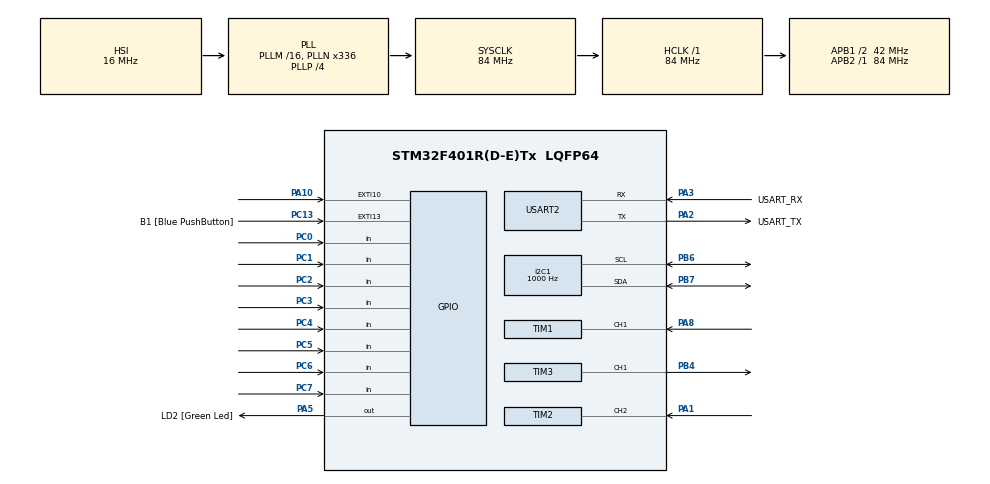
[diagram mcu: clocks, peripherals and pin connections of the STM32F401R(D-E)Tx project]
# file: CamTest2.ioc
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Mcu.Family=STM32F4
PA2.GPIO_PuPd=GPIO_NOPULL
RCC.CortexFreq_Value=84000000
PA14.GPIO_Label=TCK
PA3.GPIO_PuPd=GPIO_NOPULL
PA2.GPIO_Speed=GPIO_SPEED_FREQ_LOW
Dma.TIM1_CH1.0.MemDataAlignment=DMA_MDATAALIGN_WORD
PA3.GPIO_Speed=GPIO_SPEED_FREQ_LOW
RCC.SYSCLKSource=RCC_SYSCLKSOURCE_PLLCLK
ProjectManager.StackSize=0x400
VP_TIM2_VS_ClockSourceITR.Mode=TriggerSource_ITR0
Dma.TIM1_CH1.0.MemInc=DMA_MINC_ENABLE
VP_TIM1_VS_ControllerModeReset.Mode=Reset Mode
TIM2.ICPolarity_CH2=TIM_INPUTCHANNELPOLARITY_FALLING
PH0\ -\ OSC_IN.Signal=RCC_OSC_IN
I2C1.ClockSpeed=1000
RCC.HCLKFreq_Value=84000000
RCC.APB2TimFreq_Value=84000000
TIM3.Period=7
PB6.Signal=I2C1_SCL
PC7.Signal=GPIO_Input
PB6.Mode=I2C
PC3.Signal=GPIO_Input
RCC.AHBFreq_Value=84000000
TIM3.Channel-PWM\ Generation1\ CH1=TIM_CHANNEL_1
RCC.HSE_VALUE=8000000
PC13-ANTI_TAMP.Signal=GPXTI13
I2C1.NoStretchMode=I2C_NOSTRETCH_DISABLE
PC14-OSC32_IN.Mode=LSE-External-Oscillator
TIM3.Prescaler=0
PA5.GPIO_PuPd=GPIO_NOPULL
NVIC.TIM2_IRQn=true\:0\:0\:false\:false\:true\:true\:true
PB7.Signal=I2C1_SDA
PA8.Signal=S_TIM1_CH1
SH.S_TIM3_CH1.0=TIM3_CH1,PWM Generation1 CH1
Dma.TIM1_CH1.0.FIFOThreshold=DMA_FIFO_THRESHOLD_FULL
Mcu.Package=LQFP64
USART2.VirtualMode=VM_ASYNC
TIM2.Channel-Input_Capture2_from_TI2=TIM_CHANNEL_2
PA2.GPIO_Label=USART_TX
PA10.Signal=GPXTI10
RCC.APB1TimFreq_Value=84000000
PC5.Signal=GPIO_Input
Dma.Request0=TIM1_CH1
TIM3.OCFastMode_PWM-PWM\ Generation1\ CH1=TIM_OCFAST_ENABLE
PB4.Signal=S_TIM3_CH1
PA3.Signal=USART2_RX
PA2.GPIO_Mode=GPIO_MODE_AF_PP
PB3.GPIO_Label=SWO
PC15-OSC32_OUT.Mode=LSE-External-Oscillator
PC13-ANTI_TAMP.GPIO_PuPd=GPIO_NOPULL
PC13-ANTI_TAMP.GPIO_Label=B1 [Blue PushButton]
PH1\ -\ OSC_OUT.Mode=HSE-External-Clock-Source
PC2.Signal=GPIO_Input
PC4.Signal=GPIO_Input
PC6.Signal=GPIO_Input
Dma.TIM1_CH1.0.FIFOMode=DMA_FIFOMODE_ENABLE
NVIC.DMA2_Stream1_IRQn=true\:0\:0\:false\:false\:true\:false\:true
PC0.Signal=GPIO_Input
RCC.APB1CLKDivider=RCC_HCLK_DIV2
PC14-OSC32_IN.Signal=RCC_OSC32_IN
Dma.TIM1_CH1.0.PeriphDataAlignment=DMA_PDATAALIGN_BYTE
Dma.TIM1_CH1.0.Priority=DMA_PRIORITY_VERY_HIGH
Dma.TIM1_CH1.0.PeriphInc=DMA_PINC_DISABLE
PA3.Mode=Asynchronous
PA13.Signal=SYS_JTMS-SWDIO
SH.S_TIM2_CH2.0=TIM2_CH2,Input_Capture2_from_TI2
PH0\ -\ OSC_IN.Mode=HSE-External-Clock-Source
Dma.TIM1_CH1.0.Mode=DMA_CIRCULAR
TIM3.Pulse-PWM\ Generation1\ CH1=5
SH.S_TIM1_CH1.0=TIM1_CH1,Input_Capture1_from_TI1
SH.S_TIM1_CH1.1=TIM1_CH1,TriggerSource_TI1FP1
ProjectManager.TargetToolchain=STM32CubeIDE
Dma.TIM1_CH1.0.PeriphBurst=DMA_PBURST_SINGLE
PA3.GPIO_Mode=GPIO_MODE_AF_PP
VP_TIM2_VS_ControllerModeClock.Mode=Clock Mode
PC15-OSC32_OUT.Signal=RCC_OSC32_OUT
PA1.Signal=S_TIM2_CH2
PA5.Signal=GPIO_Output
PH1\ -\ OSC_OUT.Signal=RCC_OSC_OUT
board=NUCLEO-F401RE
RCC.VCOOutputFreq_Value=336000000
RCC.APB2Freq_Value=84000000
Mcu.Name=STM32F401R(D-E)Tx
PA2.Signal=USART2_TX
PA13.GPIO_Label=TMS
Dma.TIM1_CH1.0.Direction=DMA_PERIPH_TO_MEMORY
RCC.48MHZClocksFreq_Value=48000000
PB3.Signal=SYS_JTDO-SWO
RCC.SYSCLKFreq_VALUE=84000000
Dma.TIM1_CH1.0.Instance=DMA2_Stream1
PA5.GPIO_Label=LD2 [Green Led]
TIM1.Channel-Input_Capture1_from_TI1=TIM_CHANNEL_1
PC13-ANTI_TAMP.GPIO_ModeDefaultEXTI=GPIO_MODE_IT_FALLING
Dma.TIM1_CH1.0.MemBurst=DMA_MBURST_INC4
PB7.Mode=I2C
PA14.Signal=SYS_JTCK-SWCLK
ProjectManager.HeapSize=0x200
RCC.HSI_VALUE=16000000
RCC.PLLP=RCC_PLLP_DIV4
PA5.GPIO_Speed=GPIO_SPEED_FREQ_LOW
RCC.PLLQ=7
NVIC.PriorityGroup=NVIC_PRIORITYGROUP_0
RCC.PLLN=336
PA2.Mode=Asynchronous
RCC.APB1Freq_Value=42000000
PA5.GPIO_Mode=GPIO_MODE_OUTPUT_PP
PC1.Signal=GPIO_Input
TIM1.TIM_MasterSlaveMode=TIM_MASTERSLAVEMODE_ENABLE
PA3.GPIO_Label=USART_RX

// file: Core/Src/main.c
/* USER CODE BEGIN Header */
/**
  ******************************************************************************
  * @file           : main.c
  * @brief          : Main program body
  ******************************************************************************
  * @attention
  *
  * <h2><center>&copy; Copyright (c) 2021 STMicroelectronics.
  * All rights reserved.</center></h2>
  *
  * This software component is licensed by ST under BSD 3-Clause license,
  * the "License"; You may not use this file except in compliance with the
  * License. You may obtain a copy of the License at:
  *                        opensource.org/licenses/BSD-3-Clause
  *
  ******************************************************************************
  */
/* USER CODE END Header */
#include "main.h"

I2C_HandleTypeDef hi2c1;

TIM_HandleTypeDef htim1;
TIM_HandleTypeDef htim2;
TIM_HandleTypeDef htim3;
DMA_HandleTypeDef hdma_tim1_ch1;

UART_HandleTypeDef huart2;

void SystemClock_Config(void);
static void MX_GPIO_Init(void);
static void MX_DMA_Init(void);
static void MX_USART2_UART_Init(void);
static void MX_TIM3_Init(void);
static void MX_I2C1_Init(void);
static void MX_TIM1_Init(void);
static void MX_TIM2_Init(void);

/* USER CODE BEGIN 0 */
const uint8_t id = 0x42;

// MAGIC
		/* Registers */
		#define REG_GAIN	0x00	/* Gain lower 8 bits (rest in vref) */
		#define REG_BLUE	0x01	/* blue gain */
		#define REG_RED		0x02	/* red gain */
		#define REG_VREF	0x03	/* Pieces of GAIN, VSTART, VSTOP */
		#define REG_COM1	0x04	/* Control 1 */
		#define  COM1_CCIR656	  0x40  /* CCIR656 enable */
		#define REG_BAVE	0x05	/* U/B Average level */
		#define REG_GbAVE	0x06	/* Y/Gb Average level */
		#define REG_AECHH	0x07	/* AEC MS 5 bits */
		#define REG_RAVE	0x08	/* V/R Average level */
		#define REG_COM2	0x09	/* Control 2 */
		#define  COM2_SSLEEP	  0x10	/* Soft sleep mode */
		#define REG_PID		0x0a	/* Product ID MSB */
		#define REG_VER		0x0b	/* Product ID LSB */
		#define REG_COM3	0x0c	/* Control 3 */
		#define  COM3_SWAP	  0x40	  /* Byte swap */
		#define  COM3_SCALEEN	  0x08	  /* Enable scaling */
		#define  COM3_DCWEN	  0x04	  /* Enable downsamp/crop/window */
		#define REG_COM4	0x0d	/* Control 4 */
		#define REG_COM5	0x0e	/* All "reserved" */
		#define REG_COM6	0x0f	/* Control 6 */
		#define REG_AECH	0x10	/* More bits of AEC value */
		#define REG_CLKRC	0x11	/* Clocl control */
		#define   CLK_EXT	  0x40	  /* Use external clock directly */
		#define   CLK_SCALE	  0x3f	  /* Mask for internal clock scale */
		#define REG_COM7	0x12	/* Control 7 */
		#define   COM7_RESET	  0x80	  /* Register reset */
		#define   COM7_FMT_MASK	  0x38
		#define   COM7_FMT_VGA	  0x00
		#define	  COM7_FMT_CIF	  0x20	  /* CIF format */
		#define   COM7_FMT_QVGA	  0x10	  /* QVGA format */
		#define   COM7_FMT_QCIF	  0x08	  /* QCIF format */
		#define	  COM7_RGB	  0x04	  /* bits 0 and 2 - RGB format */
		#define	  COM7_YUV	  0x00	  /* YUV */
		#define	  COM7_BAYER	  0x01	  /* Bayer format */
		#define	  COM7_PBAYER	  0x05	  /* "Processed bayer" */
		#define REG_COM8	0x13	/* Control 8 */
		#define   COM8_FASTAEC	  0x80	  /* Enable fast AGC/AEC */
		#define   COM8_AECSTEP	  0x40	  /* Unlimited AEC step size */
		#define   COM8_BFILT	  0x20	  /* Band filter enable */
		#define   COM8_AGC	  0x04	  /* Auto gain enable */
		#define   COM8_AWB	  0x02	  /* White balance enable */
		#define   COM8_AEC	  0x01	  /* Auto exposure enable */
		#define REG_COM9	0x14	/* Control 9  - gain ceiling */
		#define REG_COM10	0x15	/* Control 10 */
		#define   COM10_HSYNC	  0x40	  /* HSYNC instead of HREF */
		#define   COM10_PCLK_HB	  0x20	  /* Suppress PCLK on horiz blank */
		#define   COM10_HREF_REV  0x08	  /* Reverse HREF */
		#define   COM10_VS_LEAD	  0x04	  /* VSYNC on clock leading edge */
		#define   COM10_VS_NEG	  0x02	  /* VSYNC negative */
		#define   COM10_HS_NEG	  0x01	  /* HSYNC negative */
		#define REG_HSTART	0x17	/* Horiz start high bits */
		#define REG_HSTOP	0x18	/* Horiz stop high bits */
		#define REG_VSTART	0x19	/* Vert start high bits */
		#define REG_VSTOP	0x1a	/* Vert stop high bits */
		#define REG_PSHFT	0x1b	/* Pixel delay after HREF */
		#define REG_MIDH	0x1c	/* Manuf. ID high */
		#define REG_MIDL	0x1d	/* Manuf. ID low */
		#define REG_MVFP	0x1e	/* Mirror / vflip */
		#define   MVFP_MIRROR	  0x20	  /* Mirror image */
		#define   MVFP_FLIP	  0x10	  /* Vertical flip */

		#define REG_AEW		0x24	/* AGC upper limit */
		#define REG_AEB		0x25	/* AGC lower limit */
		#define REG_VPT		0x26	/* AGC/AEC fast mode op region */
		#define REG_HSYST	0x30	/* HSYNC rising edge delay */
		#define REG_HSYEN	0x31	/* HSYNC falling edge delay */
		#define REG_HREF	0x32	/* HREF pieces */
		#define REG_TSLB	0x3a	/* lots of stuff */
		#define   TSLB_YLAST	  0x04	  /* UYVY or VYUY - see com13 */
		#define REG_COM11	0x3b	/* Control 11 */
		#define   COM11_NIGHT	  0x80	  /* NIght mode enable */
		#define   COM11_NMFR	  0x60	  /* Two bit NM frame rate */
		#define   COM11_HZAUTO	  0x10	  /* Auto detect 50/60 Hz */
		#define	  COM11_50HZ	  0x08	  /* Manual 50Hz select */
		#define   COM11_EXP	  0x02
		#define REG_COM12	0x3c	/* Control 12 */
		#define   COM12_HREF	  0x80	  /* HREF always */
		#define REG_COM13	0x3d	/* Control 13 */
		#define   COM13_GAMMA	  0x80	  /* Gamma enable */
		#define	  COM13_UVSAT	  0x40	  /* UV saturation auto adjustment */
		#define   COM13_UVSWAP	  0x01	  /* V before U - w/TSLB */
		#define REG_COM14	0x3e	/* Control 14 */
		#define   COM14_DCWEN	  0x10	  /* DCW/PCLK-scale enable */
		#define REG_EDGE	0x3f	/* Edge enhancement factor */
		#define REG_COM15	0x40	/* Control 15 */
		#define   COM15_R10F0	  0x00	  /* Data range 10 to F0 */
		#define	  COM15_R01FE	  0x80	  /*            01 to FE */
		#define   COM15_R00FF	  0xc0	  /*            00 to FF */
		#define   COM15_RGB565	  0x10	  /* RGB565 output */
		#define   COM15_RGB555	  0x30	  /* RGB555 output */
		#define REG_COM16	0x41	/* Control 16 */
		#define   COM16_AWBGAIN   0x08	  /* AWB gain enable */
		#define REG_COM17	0x42	/* Control 17 */
		#define   COM17_AECWIN	  0xc0	  /* AEC window - must match COM4 */
		#define   COM17_CBAR	  0x08	  /* DSP Color bar */

		/*
		 * This matrix defines how the colors are generated, must be
		 * tweaked to adjust hue and saturation.
		 *
		 * Order: v-red, v-green, v-blue, u-red, u-green, u-blue
		 *
		 * They are nine-bit signed quantities, with the sign bit
		 * stored in 0x58.  Sign for v-red is bit 0, and up from there.
		 */
		#define	REG_CMATRIX_BASE 0x4f
		#define   CMATRIX_LEN 6
		#define REG_CMATRIX_SIGN 0x58

		#define REG_BRIGHT	0x55	/* Brightness */
		#define REG_CONTRAS	0x56	/* Contrast control */

		#define REG_GFIX	0x69	/* Fix gain control */

		#define REG_DBLV	0x6b	/* PLL control an debugging */
		#define   DBLV_BYPASS	  0x0a	  /* Bypass PLL */
		#define   DBLV_X4	  0x4a	  /* clock x4 */
		#define   DBLV_X6	  0x8a	  /* clock x6 */
		#define   DBLV_X8	  0xca	  /* clock x8 */

		#define REG_SCALING_XSC	0x70	/* Test pattern and horizontal scale factor */
		#define   TEST_PATTTERN_0 0x80
		#define REG_SCALING_YSC	0x71	/* Test pattern and vertical scale factor */
		#define   TEST_PATTTERN_1 0x80

		#define REG_REG76	0x76	/* OV's name */
		#define   R76_BLKPCOR	  0x80	  /* Black pixel correction enable */
		#define   R76_WHTPCOR	  0x40	  /* White pixel correction enable */

		#define REG_RGB444	0x8c	/* RGB 444 control */
		#define   R444_ENABLE	  0x02	  /* Turn on RGB444, overrides 5x5 */
		#define   R444_RGBX	  0x01	  /* Empty nibble at end */

		#define REG_HAECC1	0x9f	/* Hist AEC/AGC control 1 */
		#define REG_HAECC2	0xa0	/* Hist AEC/AGC control 2 */

		#define REG_BD50MAX	0xa5	/* 50hz banding step limit */
		#define REG_HAECC3	0xa6	/* Hist AEC/AGC control 3 */
		#define REG_HAECC4	0xa7	/* Hist AEC/AGC control 4 */
		#define REG_HAECC5	0xa8	/* Hist AEC/AGC control 5 */
		#define REG_HAECC6	0xa9	/* Hist AEC/AGC control 6 */
		#define REG_HAECC7	0xaa	/* Hist AEC/AGC control 7 */
		#define REG_BD60MAX	0xab	/* 60hz banding step limit */

const uint8_t regCfg[][2] = {
		{0x12, 0x80}, // Register Reset, Must wait 1ms

#ifdef LINM
		/*
			 * Set the hardware window.  These values from OV don't entirely
			 * make sense - hstop is less than hstart.  But they work...
			 */

			{ REG_HSTART, 0x13 },	{ REG_HSTOP, 0x01 },
			{ REG_HREF, 0xb6 },	{ REG_VSTART, 0x02 },
			{ REG_VSTOP, 0x7a },	{ REG_VREF, 0x0a },

			{ REG_COM3, 0 },	{ REG_COM14, 0 },

			/* Mystery scaling numbers */

			{ REG_SCALING_XSC, 0x3a },
			{ REG_SCALING_YSC, 0x35 },
			{ 0x72, 0x11 },		{ 0x73, 0xf0 },
			{ 0xa2, 0x02 },		{ REG_COM10, 0x0 },

			/* Gamma curve values */
			{ 0x7a, 0x20 },		{ 0x7b, 0x10 },
			{ 0x7c, 0x1e },		{ 0x7d, 0x35 },
			{ 0x7e, 0x5a },		{ 0x7f, 0x69 },
			{ 0x80, 0x76 },		{ 0x81, 0x80 },
			{ 0x82, 0x88 },		{ 0x83, 0x8f },
			{ 0x84, 0x96 },		{ 0x85, 0xa3 },
			{ 0x86, 0xaf },		{ 0x87, 0xc4 },
			{ 0x88, 0xd7 },		{ 0x89, 0xe8 },

			/* AGC and AEC parameters.  Note we start by disabling those features,
			   then turn them only after tweaking the values. */
			{ REG_COM8, COM8_FASTAEC | COM8_AECSTEP | COM8_BFILT },
			{ REG_GAIN, 0 },	{ REG_AECH, 0 },
			{ REG_COM4, 0x40 }, /* magic reserved bit */
			{ REG_COM9, 0x18 }, /* 4x gain + magic rsvd bit */
			{ REG_BD50MAX, 0x05 },	{ REG_BD60MAX, 0x07 },
			{ REG_AEW, 0x95 },	{ REG_AEB, 0x33 },
			{ REG_VPT, 0xe3 },	{ REG_HAECC1, 0x78 },
			{ REG_HAECC2, 0x68 },	{ 0xa1, 0x03 }, /* magic */
			{ REG_HAECC3, 0xd8 },	{ REG_HAECC4, 0xd8 },
			{ REG_HAECC5, 0xf0 },	{ REG_HAECC6, 0x90 },
			{ REG_HAECC7, 0x94 },
			{ REG_COM8, COM8_FASTAEC|COM8_AECSTEP|COM8_BFILT|COM8_AGC|COM8_AEC },

			/* Almost all of these are magic "reserved" values.  */
			{ REG_COM5, 0x61 },	{ REG_COM6, 0x4b },
			{ 0x16, 0x02 },		{ REG_MVFP, 0x07 },
			{ 0x21, 0x02 },		{ 0x22, 0x91 },
			{ 0x29, 0x07 },		{ 0x33, 0x0b },
			{ 0x35, 0x0b },		{ 0x37, 0x1d },
			{ 0x38, 0x71 },		{ 0x39, 0x2a },
			{ REG_COM12, 0x78 },	{ 0x4d, 0x40 },
			{ 0x4e, 0x20 },		{ REG_GFIX, 0 },
			{ 0x6b, 0x4a },		{ 0x74, 0x10 },
			{ 0x8d, 0x4f },		{ 0x8e, 0 },
			{ 0x8f, 0 },		{ 0x90, 0 },
			{ 0x91, 0 },		{ 0x96, 0 },
			{ 0x9a, 0 },		{ 0xb0, 0x84 },
			{ 0xb1, 0x0c },		{ 0xb2, 0x0e },
			{ 0xb3, 0x82 },		{ 0xb8, 0x0a },

			/* More reserved magic, some of which tweaks white balance */
			{ 0x43, 0x0a },		{ 0x44, 0xf0 },
			{ 0x45, 0x34 },		{ 0x46, 0x58 },
			{ 0x47, 0x28 },		{ 0x48, 0x3a },
			{ 0x59, 0x88 },		{ 0x5a, 0x88 },
			{ 0x5b, 0x44 },		{ 0x5c, 0x67 },
			{ 0x5d, 0x49 },		{ 0x5e, 0x0e },
			{ 0x6c, 0x0a },		{ 0x6d, 0x55 },
			{ 0x6e, 0x11 },		{ 0x6f, 0x9f }, /* "9e for advance AWB" */
			{ 0x6a, 0x40 },		{ REG_BLUE, 0x40 },
			{ REG_RED, 0x60 },
			{ REG_COM8, COM8_FASTAEC|COM8_AECSTEP|COM8_BFILT|COM8_AGC|COM8_AEC|COM8_AWB },

			/* Matrix coefficients */
			{ 0x4f, 0x80 },		{ 0x50, 0x80 },
			{ 0x51, 0 },		{ 0x52, 0x22 },
			{ 0x53, 0x5e },		{ 0x54, 0x80 },
			{ 0x58, 0x9e },

			{ REG_COM16, COM16_AWBGAIN },	{ REG_EDGE, 0 },
			{ 0x75, 0x05 },		{ 0x76, 0xe1 },
			{ 0x4c, 0 },		{ 0x77, 0x01 },

			//Something causing drift
			/*{ REG_COM13, 0xc3 },*/ {REG_COM13, 0xc9},	{ 0x4b, 0x09 },
			{ 0xc9, 0x60 },		{ REG_COM16, 0x38 },
			{ 0x56, 0x40 },

			{ 0x34, 0x11 },		{ REG_COM11, COM11_EXP|COM11_HZAUTO },
			{ 0xa4, 0x88 },		{ 0x96, 0 },
			{ 0x97, 0x30 },		{ 0x98, 0x20 },
			{ 0x99, 0x30 },		{ 0x9a, 0x84 },
			{ 0x9b, 0x29 },		{ 0x9c, 0x03 },
			{ 0x9d, 0x4c },		{ 0x9e, 0x3f },
			{ 0x78, 0x04 },

			/* Extra-weird stuff.  Some sort of multiplexor register */
			//SAFE
			{ 0x79, 0x01 },		{ 0xc8, 0xf0 },
			{ 0x79, 0x0f },		{ 0xc8, 0x00 },
			{ 0x79, 0x10 },		{ 0xc8, 0x7e },
			{ 0x79, 0x0a },		{ 0xc8, 0x80 },
			{ 0x79, 0x0b },		{ 0xc8, 0x01 },
			{ 0x79, 0x0c },		{ 0xc8, 0x0f },
			{ 0x79, 0x0d },		{ 0xc8, 0x20 },
			{ 0x79, 0x09 },		{ 0xc8, 0x80 },
			{ 0x79, 0x02 },		{ 0xc8, 0xc0 },
			{ 0x79, 0x03 },		{ 0xc8, 0x40 },
			{ 0x79, 0x05 },		{ 0xc8, 0x30 },
			{ 0x79, 0x26 },
#endif

/*
			 * Set the hardware window.  These values from OV don't entirely
			 * make sense - hstop is less than hstart.  But they work...
			 */

			{ REG_HSTART, 0x13 },	{ REG_HSTOP, 0x01 },
			{ REG_HREF, 0xb6 },	{ REG_VSTART, 0x02 },
			{ REG_VSTOP, 0x7a },	{ REG_VREF, 0x0a },

			{ REG_COM3, 0 },	{ REG_COM14, 0 },

			/* Mystery scaling numbers */

			{ REG_SCALING_XSC, 0x3a },
			{ REG_SCALING_YSC, 0x35 },
			{ 0x72, 0x11 },		{ 0x73, 0xf0 },
			{ 0xa2, 0x02 },		{ REG_COM10, 0x0 },

			/* Gamma curve values */
						{ 0x7a, 0x20 },		{ 0x7b, 0x10 },
						{ 0x7c, 0x1e },		{ 0x7d, 0x35 },
						{ 0x7e, 0x5a },		{ 0x7f, 0x69 },
						{ 0x80, 0x76 },		{ 0x81, 0x80 },
						{ 0x82, 0x88 },		{ 0x83, 0x8f },
						{ 0x84, 0x96 },		{ 0x85, 0xa3 },
						{ 0x86, 0xaf },		{ 0x87, 0xc4 },
						{ 0x88, 0xd7 },		{ 0x89, 0xe8 },

			/* AGC and AEC parameters.  Note we start by disabling those features,
						   then turn them only after tweaking the values. */
						{ REG_COM8, COM8_FASTAEC | COM8_AECSTEP | COM8_BFILT },
						{ REG_GAIN, 0 },	{ REG_AECH, 0 },
						{ REG_COM4, 0x40 }, /* magic reserved bit */
						{ REG_COM9, 0x18 }, /* 4x gain + magic rsvd bit */
						{ REG_BD50MAX, 0x05 },	{ REG_BD60MAX, 0x07 },
						{ REG_AEW, 0x95 },	{ REG_AEB, 0x33 },
						{ REG_VPT, 0xe3 },	{ REG_HAECC1, 0x78 },
						{ REG_HAECC2, 0x68 },	{ 0xa1, 0x03 }, /* magic */
						{ REG_HAECC3, 0xd8 },	{ REG_HAECC4, 0xd8 },
						{ REG_HAECC5, 0xf0 },	{ REG_HAECC6, 0x90 },
						{ REG_HAECC7, 0x94 },
						{ REG_COM8, COM8_FASTAEC|COM8_AECSTEP|COM8_BFILT|COM8_AGC|COM8_AEC },

			/* Almost all of these are magic "reserved" values.  */
						{ REG_COM5, 0x61 },	{ REG_COM6, 0x4b },
						{ 0x16, 0x02 },		{ REG_MVFP, 0x07 },
						{ 0x21, 0x02 },		{ 0x22, 0x91 },
						{ 0x29, 0x07 },		{ 0x33, 0x0b },
						{ 0x35, 0x0b },		{ 0x37, 0x1d },
						{ 0x38, 0x71 },		{ 0x39, 0x2a },
						{ REG_COM12, 0x78 },	{ 0x4d, 0x40 },
						{ 0x4e, 0x20 },		{ REG_GFIX, 0 },
						{ 0x6b, 0x4a },		{ 0x74, 0x10 },
						{ 0x8d, 0x4f },		{ 0x8e, 0 },
						{ 0x8f, 0 },		{ 0x90, 0 },
						{ 0x91, 0 },		{ 0x96, 0 },
						{ 0x9a, 0 },		{ 0xb0, 0x84 },
						{ 0xb1, 0x0c },		{ 0xb2, 0x0e },
						{ 0xb3, 0x82 },		{ 0xb8, 0x0a },

						/* More reserved magic, some of which tweaks white balance */
						{ 0x43, 0x0a },		{ 0x44, 0xf0 },
						{ 0x45, 0x34 },		{ 0x46, 0x58 },
						{ 0x47, 0x28 },		{ 0x48, 0x3a },
						{ 0x59, 0x88 },		{ 0x5a, 0x88 },
						{ 0x5b, 0x44 },		{ 0x5c, 0x67 },
						{ 0x5d, 0x49 },		{ 0x5e, 0x0e },
						{ 0x6c, 0x0a },		{ 0x6d, 0x55 },
						{ 0x6e, 0x11 },		{ 0x6f, 0x9f }, /* "9e for advance AWB" */
						{ 0x6a, 0x40 },		{ REG_BLUE, 0x40 },
						{ REG_RED, 0x60 },
						{ REG_COM8, COM8_FASTAEC|COM8_AECSTEP|COM8_BFILT|COM8_AGC|COM8_AEC|COM8_AWB },

						/* Matrix coefficients */
						{ 0x4f, 0x80 },		{ 0x50, 0x80 },
						{ 0x51, 0 },		{ 0x52, 0x22 },
						{ 0x53, 0x5e },		{ 0x54, 0x80 },
						{ 0x58, 0x9e },

						{ REG_COM16, COM16_AWBGAIN },	{ REG_EDGE, 0 },
						{ 0x75, 0x05 },		{ 0x76, 0xe1 },
						{ 0x4c, 0 },		{ 0x77, 0x01 },

#ifdef YUV
			// YUV linux
				{ REG_COM7, 0x0 },  /* Selects YUV mode */
					{ REG_RGB444, 0 },	/* No RGB444 please */
					{ REG_COM1, 0 },	/* CCIR601 */
					{ REG_COM15, COM15_R00FF },
					{ REG_COM9, 0x48 }, /* 32x gain ceiling; 0x8 is reserved bit */
					{ 0x4f, 0x80 },		/* "matrix coefficient 1" */
					{ 0x50, 0x80 },		/* "matrix coefficient 2" */
					{ 0x51, 0    },		/* vb */
					{ 0x52, 0x22 },		/* "matrix coefficient 4" */
					{ 0x53, 0x5e },		/* "matrix coefficient 5" */
					{ 0x54, 0x80 },		/* "matrix coefficient 6" */
					{ REG_COM13, COM13_GAMMA|COM13_UVSAT },

#endif

		//Our settings
		{0x11, 0x9F}, // Clock Prescaler
		{0x6B, 0x7A}, // PLL x4
	//    /*{0x2A, 0xF0},*/ {0x2B, 0xFF}, // Dummy pixel insert
	    {0x15, 0x20}, // Don't toggle HSYNC during horizontal blank
	//	{0x92, 0xFF}, {0x93, 0x07}, //Dummy Row
		  {0x0C, 0x08}, {0x12, 0x08}, //QCIF
		// {0x40, 0x80},// {0x04, 0x40}, // CIR656
	 // /* {0x70, 0x4A | 0x80},*/ {0x71, 0x35 | 0x80}, // Test Pattern
	//	{0x1B, 0xFF}, //Pixel delay to HREF

/*
		//{0x11, 0x01},
		{0x12, 0x00},
		{0x0C, 0x0C},
		{0x32, 0x11},
		{0x70, 0x3A},
		{0x71, 0x35 | 0x80 },
		{0x72, 0x11},
		{0x73, 0xF1},
		{0xA2, 0x52},*/
		// {0x13, 0x08}, //Turn off auto
		// {0x14, 0x6A}, //Gain ceil 4x
		//{0xAA, 0x04}, //Avg AEC
		// {0x41, 0x38}, //Edge enhance, denoise, AWB Gain
		//{0xB1, 0x04}, //Black level
	    //{0x55, 0x8F}, //Brightness
		//{0x26, 0x76}, //Small control region
		//{0x3D, 0xD9},
		// {0x13, 0xCF}, //TUrn on auto

};

void log(char *c)
{
	HAL_UART_Transmit(&huart2, c, strlen(c), 1000000);
}

uint8_t camReadReg(uint8_t memAddr)
{
	int t = HAL_GetTick();
	HAL_I2C_Master_Transmit(&hi2c1, id, &memAddr, 1, 1000);
	CLEAR_BIT(hi2c1.Instance->CR1, I2C_CR1_ACK);
		SET_BIT(hi2c1.Instance->CR1, I2C_CR1_START);
		while (READ_BIT(hi2c1.Instance->SR1, I2C_SR1_SB) == RESET && HAL_GetTick() - t < 1000);
		hi2c1.Instance->DR = id | 1;
		while (READ_BIT(hi2c1.Instance->SR1, I2C_SR1_ADDR) == RESET && HAL_GetTick() - t < 1000);
		__HAL_I2C_CLEAR_ADDRFLAG(&hi2c1);
		while (READ_BIT(hi2c1.Instance->SR1, I2C_SR1_RXNE) == RESET && HAL_GetTick() - t < 1000);
		uint8_t data = hi2c1.Instance->DR;
		SET_BIT(hi2c1.Instance->CR1, I2C_CR1_STOP);
		if (HAL_GetTick() - t >= 1000)
			return 0;
		return data;
}

int camInit()
{

	for (int i = 0; i < sizeof(regCfg)/sizeof(regCfg[0]); i++) {
		int err;
		while ((err = HAL_I2C_Master_Transmit(&hi2c1, id, regCfg[i], 2, 1000)) != HAL_OK) {

			char buff[200];
			int l = sprintf(buff, "ERR: A Register set fail: %d ERR=%d Retrying\r\n", i, err);
			HAL_UART_Transmit(&huart2, buff, l, 1000);
			HAL_I2C_DeInit(&hi2c1);
				  	  HAL_Delay(1000);
				  	  HAL_I2C_Init(&hi2c1);
		}
		HAL_Delay(10);

		/*
		int v = camReadReg(regCfg[i][0]);
		if (i != 0 &&  v != regCfg[i][1]) {
			log("Bit Error\r\n");
			return 0;
		}
		*/

	}

	/*
	char v = 0xFF;
		if (HAL_I2C_Mem_Read(&hi2c1, id, 0x01, I2C_MEMADD_SIZE_8BIT, &v, 1, 1000) != HAL_OK) {
					return 0;
		}
		if (v != 0x80)
			return 0;
			*/
	return 1;
}

// (174x2)x144
#define IMG_B_WIDTH 348
#define IMG_B_HEIGHT 144
#define IMG_BUFFER_BYTES (IMG_B_WIDTH*IMG_B_HEIGHT)
uint32_t imgBuff[IMG_BUFFER_BYTES/4];
int frameStart;

void camBuffErr(DMA_HandleTypeDef *dma)
{
	log("Error: Camera DMA failed");
}

int horzAlignTim;
int horzLine[200];
int horzAp = -1;

void HAL_TIM_IC_CaptureCallback(TIM_HandleTypeDef *htim)
{
	if (htim == &htim2) {
		if (horzAp != -1 ) {
			if (horzAp < 200)
				horzLine[horzAp] =  htim->Instance->CCR2;
			horzAp++;
		}
	}
}

/* USER CODE END 0 */

int main(void)
{

  /* MCU Configuration--------------------------------------------------------*/

  /* Reset of all peripherals, Initializes the Flash interface and the Systick. */
  HAL_Init();

  /* Configure the system clock */
  SystemClock_Config();

  /* Initialize all configured peripherals */
  MX_GPIO_Init();
  MX_DMA_Init();
  MX_USART2_UART_Init();
  MX_TIM3_Init();
  MX_I2C1_Init();
  MX_TIM1_Init();
  MX_TIM2_Init();
  /* USER CODE BEGIN 2 */

  //PWM 10.5 MHz on pin D5
  HAL_TIM_PWM_Start(&htim3, TIM_CHANNEL_1);
  //Input Capture on pin D6
  __HAL_TIM_ENABLE_DMA(&htim1, TIM_DMA_CC1);
  HAL_TIM_IC_Start(&htim1, TIM_CHANNEL_1);

  /* USER CODE END 2 */

  /* Infinite loop */
  /* USER CODE BEGIN WHILE */
  HAL_Delay(5000);
  while (!camInit()) {
	  	  log("Error during camera register initialization\r\n");
	  	  HAL_I2C_DeInit(&hi2c1);
	  	  HAL_Delay(1000);
	  	  HAL_I2C_Init(&hi2c1);
  }

  if (HAL_DMA_RegisterCallback(&hdma_tim1_ch1, HAL_DMA_XFER_ERROR_CB_ID, &camBuffErr) != HAL_OK)
	  log("Error during dma cam cb err regis");
  if (HAL_DMA_RegisterCallback(&hdma_tim1_ch1, HAL_DMA_XFER_ABORT_CB_ID, &camBuffErr) != HAL_OK)
  	  log("Error during dma cam cb abt regis");

  HAL_DMA_Start(&hdma_tim1_ch1, &(GPIOC->IDR), imgBuff, IMG_BUFFER_BYTES);
  HAL_TIM_IC_Start_IT(&htim2, TIM_CHANNEL_2);

  while (1)
  {
    /* USER CODE END WHILE */

    /* USER CODE BEGIN 3 */

	  /*
	int prv = htim2.Instance->CCR3;
	while (((htim2.Instance->SR >> 3) & 1) == 0);
	int nxt = htim2.Instance->CCR3;
	char buff[500];
	int l = sprintf(buff, "Cnt = %d\r\n", nxt-prv);
	HAL_UART_Transmit(&huart2, buff, l, 1000000);
	*/
	  /*

	  for (int i = 0; i < IMG_BUFFER_BYTES; i++)
	  		imgBuff[i] = 0xBA;
	  camState = REQUEST;
	while (HAL_GPIO_ReadPin(GPIOA, GPIO_PIN_10) == GPIO_PIN_RESET);
	HAL_DMA_Start_IT(&hdma_tim1_ch1, &(GPIOC->IDR), imgBuff, IMG_BUFFER_BYTES);
	lineCnt = 0;
	//int prv = HAL_GPIO_ReadPin(GPIOB, GPIO_PIN_5);
	while (HAL_DMA_GetState(&hdma_tim1_ch1) == HAL_DMA_STATE_BUSY || camState != IDLE) {
		while(HAL_GPIO_ReadPin(GPIOB, GPIO_PIN_5) == GPIO_PIN_RESET);
		while(HAL_GPIO_ReadPin(GPIOB, GPIO_PIN_5) == GPIO_PIN_SET);
		lineCnt++;
		//prv = HAL_GPIO_ReadPin(GPIOB, GPIO_PIN_5);
	}
	*/
/*
	t[0] = 0;
	for (int i = 1; i < sizeof(t); i++) {

		int v;
		do {
			v = (HAL_GPIO_ReadPin(GPIOA, GPIO_PIN_10) << 1) | HAL_GPIO_ReadPin(GPIOB, GPIO_PIN_5);
		} while (v == t[i-1]);

		t[i] = v;
	}

	continue;
	*/

	//while (hdma_tim1_ch1.Instance->CR & 1);

	  //HAL_DMA_Start_IT(&hdma_tim1_ch1, &(GPIOC->IDR), imgBuff, IMG_BUFFER_BYTES);
	 // while (camState != IDLE);
	  for (int i = 0; i < IMG_BUFFER_BYTES/4; i++)
	  	 		imgBuff[i] = 0x00;

	  int  horzVl;

	 __HAL_TIM_ENABLE(&htim1);
	 HAL_Delay(1000);

	 while (!(GPIOA->IDR & (1 << 10)))asm("NOP"); // Wait for VSNYC high
	 int frameStart = IMG_BUFFER_BYTES - hdma_tim1_ch1.Instance->NDTR;
	 //horzAlignTim = htim2.Instance->CNT;
	 horzAp = 0;
	 htim2.Instance->CNT = IMG_BUFFER_BYTES - hdma_tim1_ch1.Instance->NDTR;
	 while (GPIOA->IDR & (1 << 10))asm("NOP"); // Wait for VSNYC low
	 /*int cP = hdma_tim1_ch1.Instance->NDTR;
	 do {
		 cP = hdma_tim1_ch1.Instance->NDTR;
	 } while (cP > frameStart || frameStart - cP > 100);
	  */
	 while (!(GPIOA->IDR & (1 << 10)))asm("NOP"); // Wait for VSNYC high
	 __HAL_TIM_DISABLE(&htim1);
	 horzVl = horzAp;
	 horzAp = -1;

	 if (horzVl != IMG_B_HEIGHT) {
		 log("Retrying\r\n");
		 char buff[200];
		 int l =sprintf(buff, "HCNT = %d\r\n", horzVl);
		 HAL_UART_Transmit(&huart2, buff, l, 1000);
	 }
		 // Wait for loop
	 /*for (int i = 0; i < 144; i++) {
		 while (!(GPIOB->IDR & ( 1<< 5))); //Wait for HSYNC to go low
		 lineStop[i] = IMG_BUFFER_BYTES - hdma_tim1_ch1.Instance->NDTR;
		 while (GPIOB->IDR & ( 1<< 5)); //Wait for HSYNC to go high
	 }*/

/*
	 while (!(GPIOA->IDR & (1 << 10)))asm("NOP"); // Wait for VSNYC high
	 frameStart = 0;
	 while (GPIOA->IDR & (1 << 10))asm("NOP"); // Wait for VSNYC low
	 int cp = 0;
	 while (cp != IMG_BUFFER_BYTES) {
		 if (cp % 174*2 == 0) {
		 			 while ((GPIOA->IDR &2)) asm("NOP");
		 		 }
		 while (!(GPIOA->IDR & (1 << 8))) asm("NOP");
		 ((uint8_t*) imgBuff)[cp] = GPIOC->IDR & 0xFF;
		 cp++;
		 while ((GPIOA->IDR & (1 << 8))) asm("NOP");

	 }
*/

	 char *trig = "TRIGTRIGTRIG\r\n";
	 HAL_UART_Transmit(&huart2, trig, strlen(trig), 1000000);
	 /* for (int i = 0; i < 144; i++) {
		 HAL_UART_Transmit(&huart2, ((uint8_t*) imgBuff) + lineStop[i], 349 , 1000000);
	 }
	 */

	 /*
	 HAL_UART_Transmit(&huart2, ((uint8_t*) imgBuff) + frameStart, IMG_BUFFER_BYTES - frameStart, 1000000);
	 HAL_UART_Transmit(&huart2, ((uint8_t*) imgBuff), frameStart, 1000000);
	*/
	 uint8_t *bp = ((uint8_t*) imgBuff);
	 for (int i = 0; i < IMG_B_HEIGHT; i++) {
		 int mk = (i < horzVl ? horzLine[i] % IMG_BUFFER_BYTES : ((frameStart + IMG_B_WIDTH * i) % IMG_BUFFER_BYTES));
		 int avail = IMG_BUFFER_BYTES - mk;
		 if (avail > IMG_B_WIDTH)
			 avail = IMG_B_WIDTH;
		 HAL_UART_Transmit(&huart2, bp + mk, avail, 1000);
		 if (avail < IMG_B_WIDTH)
			 HAL_UART_Transmit(&huart2, bp, IMG_B_WIDTH - avail, 1000);
	 }

	 log("\r\n");

/*

	 while (hdma_tim1_ch1.Instance->CR & 1){
		 if (((GPIOB->IDR >> 5) &1) == 0) {
			 lineStop[lineCnt++] = IMG_BUFFER_BYTES - hdma_tim1_ch1.Instance->NDTR;
			while (((GPIOB->IDR >> 5) &1) == 0);
		 }
		 if (((GPIOA->IDR >> 10) & 1) == 1) {
			 while (((GPIOA->IDR >> 10) & 1) == 1);
			 frameSk[frameSkipped++] = frameStart = IMG_BUFFER_BYTES - hdma_tim1_ch1.Instance->NDTR;
		 }
	 }
	 */
	 // camState = REQUEST;

  }
  /* USER CODE END 3 */
}

void SystemClock_Config(void)
{
  RCC_OscInitTypeDef RCC_OscInitStruct = {0};
  RCC_ClkInitTypeDef RCC_ClkInitStruct = {0};

  /** Configure the main internal regulator output voltage
  */
  __HAL_RCC_PWR_CLK_ENABLE();
  __HAL_PWR_VOLTAGESCALING_CONFIG(PWR_REGULATOR_VOLTAGE_SCALE2);
  /** Initializes the RCC Oscillators according to the specified parameters
  * in the RCC_OscInitTypeDef structure.
  */
  RCC_OscInitStruct.OscillatorType = RCC_OSCILLATORTYPE_HSI;
  RCC_OscInitStruct.HSIState = RCC_HSI_ON;
  RCC_OscInitStruct.HSICalibrationValue = RCC_HSICALIBRATION_DEFAULT;
  RCC_OscInitStruct.PLL.PLLState = RCC_PLL_ON;
  RCC_OscInitStruct.PLL.PLLSource = RCC_PLLSOURCE_HSI;
  RCC_OscInitStruct.PLL.PLLM = 16;
  RCC_OscInitStruct.PLL.PLLN = 336;
  RCC_OscInitStruct.PLL.PLLP = RCC_PLLP_DIV4;
  RCC_OscInitStruct.PLL.PLLQ = 7;
  if (HAL_RCC_OscConfig(&RCC_OscInitStruct) != HAL_OK)
  {
    Error_Handler();
  }
  /** Initializes the CPU, AHB and APB buses clocks
  */
  RCC_ClkInitStruct.ClockType = RCC_CLOCKTYPE_HCLK|RCC_CLOCKTYPE_SYSCLK
                              |RCC_CLOCKTYPE_PCLK1|RCC_CLOCKTYPE_PCLK2;
  RCC_ClkInitStruct.SYSCLKSource = RCC_SYSCLKSOURCE_PLLCLK;
  RCC_ClkInitStruct.AHBCLKDivider = RCC_SYSCLK_DIV1;
  RCC_ClkInitStruct.APB1CLKDivider = RCC_HCLK_DIV2;
  RCC_ClkInitStruct.APB2CLKDivider = RCC_HCLK_DIV1;

  if (HAL_RCC_ClockConfig(&RCC_ClkInitStruct, FLASH_LATENCY_2) != HAL_OK)
  {
    Error_Handler();
  }
}

static void MX_I2C1_Init(void)
{

  hi2c1.Instance = I2C1;
  hi2c1.Init.ClockSpeed = 1000;
  hi2c1.Init.DutyCycle = I2C_DUTYCYCLE_2;
  hi2c1.Init.OwnAddress1 = 0;
  hi2c1.Init.AddressingMode = I2C_ADDRESSINGMODE_7BIT;
  hi2c1.Init.DualAddressMode = I2C_DUALADDRESS_DISABLE;
  hi2c1.Init.OwnAddress2 = 0;
  hi2c1.Init.GeneralCallMode = I2C_GENERALCALL_DISABLE;
  hi2c1.Init.NoStretchMode = I2C_NOSTRETCH_DISABLE;
  if (HAL_I2C_Init(&hi2c1) != HAL_OK)
  {
    Error_Handler();
  }

}

static void MX_TIM1_Init(void)
{

  TIM_SlaveConfigTypeDef sSlaveConfig = {0};
  TIM_MasterConfigTypeDef sMasterConfig = {0};
  TIM_IC_InitTypeDef sConfigIC = {0};

  htim1.Instance = TIM1;
  htim1.Init.Prescaler = 0;
  htim1.Init.CounterMode = TIM_COUNTERMODE_UP;
  htim1.Init.Period = 65535;
  htim1.Init.ClockDivision = TIM_CLOCKDIVISION_DIV1;
  htim1.Init.RepetitionCounter = 0;
  htim1.Init.AutoReloadPreload = TIM_AUTORELOAD_PRELOAD_DISABLE;
  if (HAL_TIM_Base_Init(&htim1) != HAL_OK)
  {
    Error_Handler();
  }
  if (HAL_TIM_IC_Init(&htim1) != HAL_OK)
  {
    Error_Handler();
  }
  sSlaveConfig.SlaveMode = TIM_SLAVEMODE_RESET;
  sSlaveConfig.InputTrigger = TIM_TS_TI1FP1;
  sSlaveConfig.TriggerPolarity = TIM_INPUTCHANNELPOLARITY_RISING;
  sSlaveConfig.TriggerFilter = 0;
  if (HAL_TIM_SlaveConfigSynchro(&htim1, &sSlaveConfig) != HAL_OK)
  {
    Error_Handler();
  }
  sMasterConfig.MasterOutputTrigger = TIM_TRGO_RESET;
  sMasterConfig.MasterSlaveMode = TIM_MASTERSLAVEMODE_ENABLE;
  if (HAL_TIMEx_MasterConfigSynchronization(&htim1, &sMasterConfig) != HAL_OK)
  {
    Error_Handler();
  }
  sConfigIC.ICPolarity = TIM_INPUTCHANNELPOLARITY_RISING;
  sConfigIC.ICSelection = TIM_ICSELECTION_DIRECTTI;
  sConfigIC.ICPrescaler = TIM_ICPSC_DIV1;
  sConfigIC.ICFilter = 0;
  if (HAL_TIM_IC_ConfigChannel(&htim1, &sConfigIC, TIM_CHANNEL_1) != HAL_OK)
  {
    Error_Handler();
  }

}

static void MX_TIM2_Init(void)
{

  TIM_SlaveConfigTypeDef sSlaveConfig = {0};
  TIM_MasterConfigTypeDef sMasterConfig = {0};
  TIM_IC_InitTypeDef sConfigIC = {0};

  htim2.Instance = TIM2;
  htim2.Init.Prescaler = 0;
  htim2.Init.CounterMode = TIM_COUNTERMODE_UP;
  htim2.Init.Period = 4294967295;
  htim2.Init.ClockDivision = TIM_CLOCKDIVISION_DIV1;
  htim2.Init.AutoReloadPreload = TIM_AUTORELOAD_PRELOAD_DISABLE;
  if (HAL_TIM_Base_Init(&htim2) != HAL_OK)
  {
    Error_Handler();
  }
  if (HAL_TIM_IC_Init(&htim2) != HAL_OK)
  {
    Error_Handler();
  }
  sSlaveConfig.SlaveMode = TIM_SLAVEMODE_EXTERNAL1;
  sSlaveConfig.InputTrigger = TIM_TS_ITR0;
  if (HAL_TIM_SlaveConfigSynchro(&htim2, &sSlaveConfig) != HAL_OK)
  {
    Error_Handler();
  }
  sMasterConfig.MasterOutputTrigger = TIM_TRGO_RESET;
  sMasterConfig.MasterSlaveMode = TIM_MASTERSLAVEMODE_DISABLE;
  if (HAL_TIMEx_MasterConfigSynchronization(&htim2, &sMasterConfig) != HAL_OK)
  {
    Error_Handler();
  }
  sConfigIC.ICPolarity = TIM_INPUTCHANNELPOLARITY_FALLING;
  sConfigIC.ICSelection = TIM_ICSELECTION_DIRECTTI;
  sConfigIC.ICPrescaler = TIM_ICPSC_DIV1;
  sConfigIC.ICFilter = 0;
  if (HAL_TIM_IC_ConfigChannel(&htim2, &sConfigIC, TIM_CHANNEL_2) != HAL_OK)
  {
    Error_Handler();
  }

}

static void MX_TIM3_Init(void)
{

  TIM_MasterConfigTypeDef sMasterConfig = {0};
  TIM_OC_InitTypeDef sConfigOC = {0};

  htim3.Instance = TIM3;
  htim3.Init.Prescaler = 0;
  htim3.Init.CounterMode = TIM_COUNTERMODE_UP;
  htim3.Init.Period = 7;
  htim3.Init.ClockDivision = TIM_CLOCKDIVISION_DIV1;
  htim3.Init.AutoReloadPreload = TIM_AUTORELOAD_PRELOAD_DISABLE;
  if (HAL_TIM_PWM_Init(&htim3) != HAL_OK)
  {
    Error_Handler();
  }
  sMasterConfig.MasterOutputTrigger = TIM_TRGO_RESET;
  sMasterConfig.MasterSlaveMode = TIM_MASTERSLAVEMODE_DISABLE;
  if (HAL_TIMEx_MasterConfigSynchronization(&htim3, &sMasterConfig) != HAL_OK)
  {
    Error_Handler();
  }
  sConfigOC.OCMode = TIM_OCMODE_PWM1;
  sConfigOC.Pulse = 5;
  sConfigOC.OCPolarity = TIM_OCPOLARITY_HIGH;
  sConfigOC.OCFastMode = TIM_OCFAST_ENABLE;
  if (HAL_TIM_PWM_ConfigChannel(&htim3, &sConfigOC, TIM_CHANNEL_1) != HAL_OK)
  {
    Error_Handler();
  }
  HAL_TIM_MspPostInit(&htim3);

}

static void MX_USART2_UART_Init(void)
{

  huart2.Instance = USART2;
  huart2.Init.BaudRate = 115200;
  huart2.Init.WordLength = UART_WORDLENGTH_8B;
  huart2.Init.StopBits = UART_STOPBITS_1;
  huart2.Init.Parity = UART_PARITY_NONE;
  huart2.Init.Mode = UART_MODE_TX_RX;
  huart2.Init.HwFlowCtl = UART_HWCONTROL_NONE;
  huart2.Init.OverSampling = UART_OVERSAMPLING_16;
  if (HAL_UART_Init(&huart2) != HAL_OK)
  {
    Error_Handler();
  }

}

static void MX_DMA_Init(void)
{

  /* DMA controller clock enable */
  __HAL_RCC_DMA2_CLK_ENABLE();

  /* DMA interrupt init */
  /* DMA2_Stream1_IRQn interrupt configuration */
  HAL_NVIC_SetPriority(DMA2_Stream1_IRQn, 0, 0);
  HAL_NVIC_EnableIRQ(DMA2_Stream1_IRQn);

}

static void MX_GPIO_Init(void)
{
  GPIO_InitTypeDef GPIO_InitStruct = {0};

  /* GPIO Ports Clock Enable */
  __HAL_RCC_GPIOC_CLK_ENABLE();
  __HAL_RCC_GPIOH_CLK_ENABLE();
  __HAL_RCC_GPIOA_CLK_ENABLE();
  __HAL_RCC_GPIOB_CLK_ENABLE();

  /*Configure GPIO pin Output Level */
  HAL_GPIO_WritePin(LD2_GPIO_Port, LD2_Pin, GPIO_PIN_RESET);

  /*Configure GPIO pin : B1_Pin */
  GPIO_InitStruct.Pin = B1_Pin;
  GPIO_InitStruct.Mode = GPIO_MODE_IT_FALLING;
  GPIO_InitStruct.Pull = GPIO_NOPULL;
  HAL_GPIO_Init(B1_GPIO_Port, &GPIO_InitStruct);

  /*Configure GPIO pins : PC0 PC1 PC2 PC3
                           PC4 PC5 PC6 PC7 */
  GPIO_InitStruct.Pin = GPIO_PIN_0|GPIO_PIN_1|GPIO_PIN_2|GPIO_PIN_3
                          |GPIO_PIN_4|GPIO_PIN_5|GPIO_PIN_6|GPIO_PIN_7;
  GPIO_InitStruct.Mode = GPIO_MODE_INPUT;
  GPIO_InitStruct.Pull = GPIO_NOPULL;
  HAL_GPIO_Init(GPIOC, &GPIO_InitStruct);

  /*Configure GPIO pin : LD2_Pin */
  GPIO_InitStruct.Pin = LD2_Pin;
  GPIO_InitStruct.Mode = GPIO_MODE_OUTPUT_PP;
  GPIO_InitStruct.Pull = GPIO_NOPULL;
  GPIO_InitStruct.Speed = GPIO_SPEED_FREQ_LOW;
  HAL_GPIO_Init(LD2_GPIO_Port, &GPIO_InitStruct);

  /*Configure GPIO pin : PA10 */
  GPIO_InitStruct.Pin = GPIO_PIN_10;
  GPIO_InitStruct.Mode = GPIO_MODE_IT_RISING;
  GPIO_InitStruct.Pull = GPIO_NOPULL;
  HAL_GPIO_Init(GPIOA, &GPIO_InitStruct);

}

void Error_Handler(void)
{
  __disable_irq();
  while (1)
  {
  }
}

/************************ (C) COPYRIGHT STMicroelectronics *****END OF FILE****/
